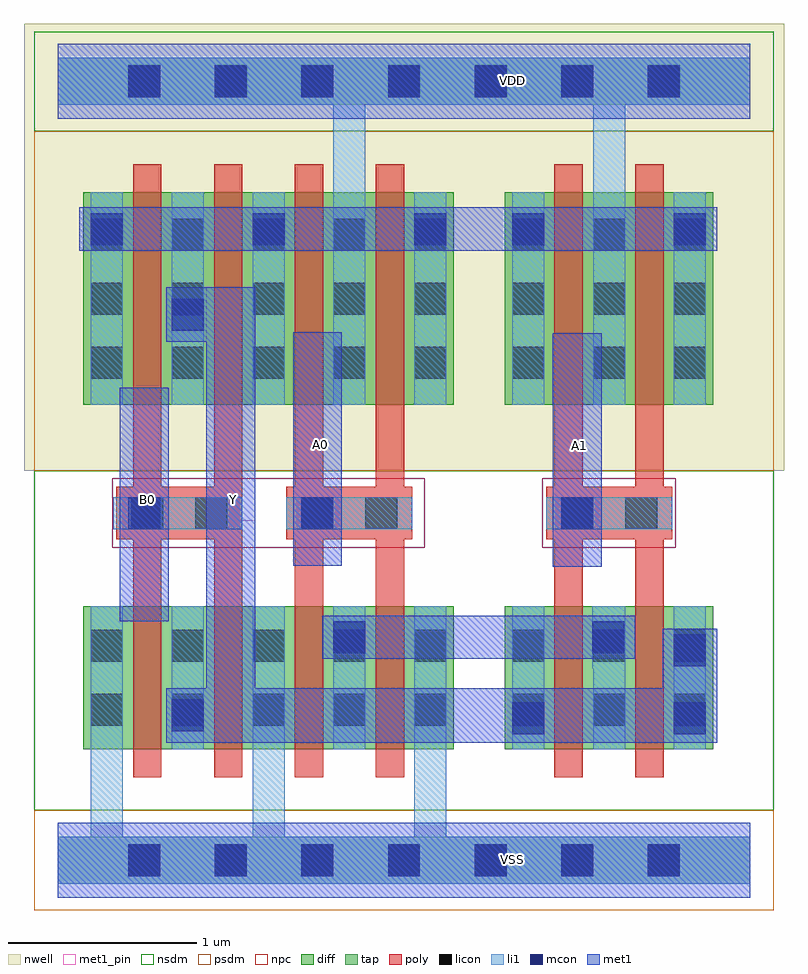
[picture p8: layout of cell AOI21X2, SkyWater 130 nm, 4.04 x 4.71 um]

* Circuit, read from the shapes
.subckt AOI21X2 A0 A1 B0 VDD VSS Y
XM1 Y B0 VSS VSS sky130_fd_pr__nfet_01v8 w=0.76 l=0.15 m=2
XM2 n1 A0 VSS VSS sky130_fd_pr__nfet_01v8 w=0.76 l=0.15 m=2
XM3 n1 A1 Y VSS sky130_fd_pr__nfet_01v8 w=0.76 l=0.15 m=2
XM4 Y B0 n2 VDD sky130_fd_pr__pfet_01v8 w=1.13 l=0.15 m=2
XM5 VDD A0 n2 VDD sky130_fd_pr__pfet_01v8 w=1.13 l=0.15 m=2
XM6 VDD A1 n2 VDD sky130_fd_pr__pfet_01v8 w=1.13 l=0.15 m=2
.ends

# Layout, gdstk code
from math import pi, radians
import gdstk
lib = gdstk.Library(unit=1e-6, precision=1e-09)
def R(c, l, rs):  # rectangles x0, y0, x1, y1
    for r in rs: c.add(gdstk.rectangle(r[:2], r[2:], *l))
def A(c, l, x, y, w, h, nx, ny, dx, dy):  # array of equal rectangles
    R(c, l, [(x+i*dx, y+j*dy, x+i*dx+w, y+j*dy+h) for i in range(nx) for j in range(ny)])
nwell = (64, 20)
diff = (65, 20)
tap = (65, 44)
poly = (66, 20)
licon = (66, 44)
li1 = (67, 20)
mcon = (67, 44)
met1_pin = (68, 16)
met1 = (68, 20)
nsdm = (93, 44)
psdm = (94, 20)
npc = (95, 20)

pfet_01v8_cdns_716492285 = lib.new_cell('pfet_01v8_CDNS_71649228522225')
R(pfet_01v8_cdns_716492285, nwell, [(-0.445,-0.18,0.985,1.31)])
R(pfet_01v8_cdns_716492285, diff, [(-0.265,0,0,1.13), (0,0,0.15,1.13), (0.15,0,0.43,1.13), (0.43,0,0.58,1.13), (0.58,0,0.805,1.13)])
R(pfet_01v8_cdns_716492285, poly, [(0,-0.15,0.15,-0.095), (0.43,-0.15,0.58,-0.095), (0,-0.095,0.15,0), (0.43,-0.095,0.58,0), (0,0,0.15,1.13), (0.43,0,0.58,1.13), (0,1.13,0.15,1.225), (0.43,1.13,0.58,1.225), (0,1.225,0.15,1.28), (0.43,1.225,0.58,1.28)])
A(pfet_01v8_cdns_716492285, licon, -0.225, 0.14, 0.17, 0.17, 3, 3, 0.43, 0.34)
A(pfet_01v8_cdns_716492285, li1, -0.225, 0, 0.17, 1.13, 3, 1, 0.43, 0)
R(pfet_01v8_cdns_716492285, psdm, [(-0.405,-0.13,0.815,1.26)])

nfet_01v8_cdns_716492285 = lib.new_cell('nfet_01v8_CDNS_71649228522139')
R(nfet_01v8_cdns_716492285, diff, [(-0.265,0,0,0.76), (0,0,0.15,0.76), (0.15,0,0.43,0.76), (0.43,0,0.58,0.76), (0.58,0,0.845,0.76)])
R(nfet_01v8_cdns_716492285, poly, [(0,-0.15,0.15,-0.095), (0.43,-0.15,0.58,-0.095), (0,-0.095,0.15,0), (0.43,-0.095,0.58,0), (0,0,0.15,0.76), (0.43,0,0.58,0.76), (0,0.76,0.15,0.855), (0.43,0.76,0.58,0.855), (0,0.855,0.15,0.91), (0.43,0.855,0.58,0.91)])
A(nfet_01v8_cdns_716492285, licon, -0.225, 0.125, 0.17, 0.17, 3, 2, 0.43, 0.34)
A(nfet_01v8_cdns_716492285, li1, -0.225, 0, 0.17, 0.76, 3, 1, 0.43, 0)
R(nfet_01v8_cdns_716492285, nsdm, [(-0.405,-0.13,0.985,0.89)])

c_pfet_01v8_cdns_716492285 = lib.new_cell('pfet_01v8_CDNS_71649228522226')
R(c_pfet_01v8_cdns_716492285, nwell, [(-0.235,-0.18,1.025,1.31)])
R(c_pfet_01v8_cdns_716492285, diff, [(-0.055,0,0,1.13), (0,0,0.15,1.13), (0.15,0,0.43,1.13), (0.43,0,0.58,1.13), (0.58,0,0.845,1.13)])
R(c_pfet_01v8_cdns_716492285, poly, [(0,-0.15,0.15,-0.095), (0.43,-0.15,0.58,-0.095), (0,-0.095,0.15,0), (0.43,-0.095,0.58,0), (0,0,0.15,1.13), (0.43,0,0.58,1.13), (0,1.13,0.15,1.225), (0.43,1.13,0.58,1.225), (0,1.225,0.15,1.28), (0.43,1.225,0.58,1.28)])
A(c_pfet_01v8_cdns_716492285, licon, 0.205, 0.14, 0.17, 0.17, 1, 3, 0, 0.34)
A(c_pfet_01v8_cdns_716492285, licon, 0.635, 0.14, 0.17, 0.17, 1, 3, 0, 0.34)
R(c_pfet_01v8_cdns_716492285, li1, [(0.205,0,0.375,1.13), (0.635,0,0.805,1.13)])
R(c_pfet_01v8_cdns_716492285, psdm, [(-0.065,-0.13,0.985,1.26)])

c_pfet_01v8_cdns_716492285_ = lib.new_cell('pfet_01v8_CDNS_71649228522167')
R(c_pfet_01v8_cdns_716492285_, nwell, [(-0.445,-0.18,1.025,1.31)])
R(c_pfet_01v8_cdns_716492285_, diff, [(-0.265,0,0,1.13), (0,0,0.15,1.13), (0.15,0,0.43,1.13), (0.43,0,0.58,1.13), (0.58,0,0.845,1.13)])
R(c_pfet_01v8_cdns_716492285_, poly, [(0,-0.15,0.15,-0.095), (0.43,-0.15,0.58,-0.095), (0,-0.095,0.15,0), (0.43,-0.095,0.58,0), (0,0,0.15,1.13), (0.43,0,0.58,1.13), (0,1.13,0.15,1.225), (0.43,1.13,0.58,1.225), (0,1.225,0.15,1.28), (0.43,1.225,0.58,1.28)])
A(c_pfet_01v8_cdns_716492285_, licon, -0.225, 0.14, 0.17, 0.17, 3, 3, 0.43, 0.34)
A(c_pfet_01v8_cdns_716492285_, li1, -0.225, 0, 0.17, 1.13, 3, 1, 0.43, 0)
R(c_pfet_01v8_cdns_716492285_, psdm, [(-0.405,-0.13,0.985,1.26)])

c_nfet_01v8_cdns_716492285 = lib.new_cell('nfet_01v8_CDNS_71649228522124')
R(c_nfet_01v8_cdns_716492285, diff, [(-0.265,0,0,0.76), (0,0,0.15,0.76), (0.15,0,0.43,0.76), (0.43,0,0.58,0.76), (0.58,0,0.805,0.76)])
R(c_nfet_01v8_cdns_716492285, poly, [(0,-0.15,0.15,-0.095), (0.43,-0.15,0.58,-0.095), (0,-0.095,0.15,0), (0.43,-0.095,0.58,0), (0,0,0.15,0.76), (0.43,0,0.58,0.76), (0,0.76,0.15,0.855), (0.43,0.76,0.58,0.855), (0,0.855,0.15,0.91), (0.43,0.855,0.58,0.91)])
A(c_nfet_01v8_cdns_716492285, licon, -0.225, 0.125, 0.17, 0.17, 3, 2, 0.43, 0.34)
A(c_nfet_01v8_cdns_716492285, li1, -0.225, 0, 0.17, 0.76, 3, 1, 0.43, 0)
R(c_nfet_01v8_cdns_716492285, nsdm, [(-0.405,-0.13,0.815,0.89)])

c_nfet_01v8_cdns_716492285_ = lib.new_cell('nfet_01v8_CDNS_71649228522125')
R(c_nfet_01v8_cdns_716492285_, diff, [(-0.055,0,0,0.76), (0,0,0.15,0.76), (0.15,0,0.43,0.76), (0.43,0,0.58,0.76), (0.58,0,0.845,0.76)])
R(c_nfet_01v8_cdns_716492285_, poly, [(0,-0.15,0.15,-0.095), (0.43,-0.15,0.58,-0.095), (0,-0.095,0.15,0), (0.43,-0.095,0.58,0), (0,0,0.15,0.76), (0.43,0,0.58,0.76), (0,0.76,0.15,0.855), (0.43,0.76,0.58,0.855), (0,0.855,0.15,0.91), (0.43,0.855,0.58,0.91)])
R(c_nfet_01v8_cdns_716492285_, licon, [(0.205,0.125,0.375,0.295), (0.635,0.125,0.805,0.295), (0.205,0.465,0.375,0.635), (0.635,0.465,0.805,0.635)])
R(c_nfet_01v8_cdns_716492285_, li1, [(0.205,0,0.375,0.76), (0.635,0,0.805,0.76)])
R(c_nfet_01v8_cdns_716492285_, nsdm, [(-0.065,-0.13,0.985,0.89)])

l1m1_c_cdns_716492285224 = lib.new_cell('L1M1_C_CDNS_7164922852241')
R(l1m1_c_cdns_716492285224, li1, [(-0.345,-0.085,0.345,0.085)])
R(l1m1_c_cdns_716492285224, mcon, [(-0.265,-0.085,-0.095,0.085), (0.095,-0.085,0.265,0.085)])
R(l1m1_c_cdns_716492285224, met1, [(-0.295,-0.145,0.295,0.145)])

l1m1_c_cdns_716492285227 = lib.new_cell('L1M1_C_CDNS_716492285227')
R(l1m1_c_cdns_716492285227, li1, [(-0.165,-0.085,0.165,0.085)])
R(l1m1_c_cdns_716492285227, mcon, [(-0.085,-0.085,0.085,0.085)])
R(l1m1_c_cdns_716492285227, met1, [(-0.145,-0.115,0.145,0.115)])

l1m1_c_cdns_716492285223 = lib.new_cell('L1M1_C_CDNS_716492285223')
R(l1m1_c_cdns_716492285223, li1, [(-0.165,-0.085,0.165,0.085)])
R(l1m1_c_cdns_716492285223, mcon, [(-0.085,-0.085,0.085,0.085)])
R(l1m1_c_cdns_716492285223, met1, [(-0.115,-0.145,0.115,0.145)])

pyl1con_c_cdns_716492285 = lib.new_cell('PYL1CON_C_CDNS_716492285220')
R(pyl1con_c_cdns_716492285, poly, [(-0.135,-0.165,0.135,0.165)])
R(pyl1con_c_cdns_716492285, licon, [(-0.085,-0.085,0.085,0.085)])
R(pyl1con_c_cdns_716492285, npc, [(-0.185,-0.185,0.185,0.185)])

aoi21x2 = lib.new_cell('AOI21X2')
R(aoi21x2, nwell, [(-0.18,2.07,3.86,4.305), (-0.18,3.875,3.86,4.445)])
R(aoi21x2, poly, [(0.31,1.705,0.83,1.985), (0.83,1.705,0.98,1.985), (1.215,1.705,1.365,1.985), (1.365,1.705,1.885,1.985), (2.595,1.705,2.745,1.985), (2.745,1.705,3.265,1.985), (0.31,1.71,0.98,1.98), (1.215,1.71,1.885,1.98), (2.595,1.71,3.265,1.98)])
A(aoi21x2, licon, 0.375, -0.085, 0.17, 0.17, 7, 2, 0.46, 4.14)
A(aoi21x2, mcon, 0.375, -0.085, 0.17, 0.17, 7, 2, 0.46, 4.14)
R(aoi21x2, met1_pin, [(0.33,1.27,0.59,2.51), (2.63,1.56,2.89,2.8), (1.25,1.565,1.51,2.805), (0.79,1.805,1.05,3.045)])
R(aoi21x2, nsdm, [(-0.125,0.265,3.805,2.07), (-0.125,3.875,3.805,4.405), (-0.125,3.93,3.805,4.35)])
R(aoi21x2, psdm, [(-0.125,-0.265,3.805,0.265), (-0.125,-0.21,3.805,0.21), (-0.125,2.07,3.805,3.875)])
R(aoi21x2, npc, [(0.29,1.66,1.95,2.03)])
aoi21x2.add(gdstk.FlexPath([(1.335,2.27),(1.335,1.5)], 0.15, ends="flush", simple_path=True, layer=66, datatype=20))  # poly
aoi21x2.add(gdstk.FlexPath([(0.31,1.845),(0.905,1.845)], 0.15, ends=(0, 0.075), simple_path=True, layer=66, datatype=20))  # poly
aoi21x2.add(gdstk.FlexPath([(0.475,1.845),(0.475,1.5)], 0.15, ends=(0.075, 0), simple_path=True, layer=66, datatype=20))  # poly
aoi21x2.add(gdstk.FlexPath([(0.475,2.27),(0.475,1.845)], 0.15, ends=(0, 0.075), simple_path=True, layer=66, datatype=20))  # poly
aoi21x2.add(gdstk.FlexPath([(3.145,1.845),(3.145,1.5)], 0.15, ends=(0.075, 0), simple_path=True, layer=66, datatype=20))  # poly
aoi21x2.add(gdstk.FlexPath([(3.145,2.27),(3.145,1.845)], 0.15, ends=(0, 0.075), simple_path=True, layer=66, datatype=20))  # poly
aoi21x2.add(gdstk.FlexPath([(1.885,1.845),(1.29,1.845)], 0.15, ends=(0, 0.075), simple_path=True, layer=66, datatype=20))  # poly
aoi21x2.add(gdstk.FlexPath([(0.4,1.845),(0.475,1.845)], 0.15, ends=(0, 0.075), simple_path=True, layer=66, datatype=20))  # poly
aoi21x2.add(gdstk.FlexPath([(0.905,1.845),(0.475,1.845)], 0.15, ends="extended", simple_path=True, layer=66, datatype=20))  # poly
aoi21x2.add(gdstk.FlexPath([(3.1,1.845),(3.01,1.845)], 0.15, ends="extended", simple_path=True, layer=66, datatype=20))  # poly
aoi21x2.add(gdstk.FlexPath([(3.01,1.845),(2.67,1.845)], 0.15, ends="extended", simple_path=True, layer=66, datatype=20))  # poly
aoi21x2.add(gdstk.FlexPath([(3.22,1.845),(3.1,1.845)], 0.15, ends=(0, 0.075), simple_path=True, layer=66, datatype=20))  # poly
aoi21x2.add(gdstk.FlexPath([(1.765,1.5),(1.765,2.27)], 0.15, ends="flush", simple_path=True, layer=66, datatype=20))  # poly
aoi21x2.add(gdstk.FlexPath([(0.905,1.845),(0.905,1.5)], 0.15, ends=(0.075, 0), simple_path=True, layer=66, datatype=20))  # poly
aoi21x2.add(gdstk.FlexPath([(0.905,2.27),(0.905,1.845)], 0.15, ends=(0, 0.075), simple_path=True, layer=66, datatype=20))  # poly
aoi21x2.add(gdstk.FlexPath([(2.715,1.845),(2.715,1.5)], 0.15, ends=(0.075, 0), simple_path=True, layer=66, datatype=20))  # poly
aoi21x2.add(gdstk.FlexPath([(2.715,2.27),(2.715,1.845)], 0.15, ends=(0, 0.075), simple_path=True, layer=66, datatype=20))  # poly
aoi21x2.add(gdstk.FlexPath([(1.12,0.59),(1.12,0)], 0.17, ends=(0, 0.125), simple_path=True, layer=67, datatype=20))  # li1
aoi21x2.add(gdstk.FlexPath([(1.98,0.695),(1.98,0)], 0.17, ends=(0, 0.125), simple_path=True, layer=67, datatype=20))  # li1
aoi21x2.add(gdstk.FlexPath([(0.26,0.595),(0.26,0.005)], 0.17, ends=(0, 0.125), simple_path=True, layer=67, datatype=20))  # li1
aoi21x2.add(gdstk.FlexPath([(1.55,3.55),(1.55,4.14)], 0.17, ends=(0, 0.125), simple_path=True, layer=67, datatype=20))  # li1
aoi21x2.add(gdstk.FlexPath([(0,4.14),(3.68,4.14)], 0.25, ends="flush", simple_path=True, layer=67, datatype=20))  # li1
aoi21x2.add(gdstk.FlexPath([(0.98,1.845),(0.31,1.845)], 0.17, ends="flush", simple_path=True, layer=67, datatype=20))  # li1
aoi21x2.add(gdstk.FlexPath([(1.215,1.845),(1.885,1.845)], 0.17, ends="flush", simple_path=True, layer=67, datatype=20))  # li1
aoi21x2.add(gdstk.FlexPath([(2.595,1.845),(3.265,1.845)], 0.17, ends="flush", simple_path=True, layer=67, datatype=20))  # li1
aoi21x2.add(gdstk.FlexPath([(2.93,3.55),(2.93,4.14)], 0.17, ends=(0, 0.125), simple_path=True, layer=67, datatype=20))  # li1
aoi21x2.add(gdstk.FlexPath([(0,0),(3.68,0)], 0.25, ends="flush", simple_path=True, layer=67, datatype=20))  # li1
aoi21x2.add(gdstk.FlexPath([(0,0),(3.68,0)], 0.25, ends="flush", simple_path=True, layer=65, datatype=44))  # tap
aoi21x2.add(gdstk.FlexPath([(0,4.14),(3.68,4.14)], 0.25, ends="flush", simple_path=True, layer=65, datatype=44))  # tap
aoi21x2.add(gdstk.FlexPath([(0,0),(3.68,0)], 0.4, ends="flush", simple_path=True, layer=68, datatype=20))  # met1
aoi21x2.add(gdstk.FlexPath([(0,4.14),(3.68,4.14)], 0.4, ends="flush", simple_path=True, layer=68, datatype=20))  # met1
aoi21x2.add(gdstk.FlexPath([(0.92,0.77),(0.92,0.625)], 0.26, ends=(0.145, 0), simple_path=True, layer=68, datatype=20))  # met1
aoi21x2.add(gdstk.FlexPath([(1.38,2.805),(1.38,1.565)], 0.26, ends="flush", simple_path=True, layer=68, datatype=20))  # met1
aoi21x2.add(gdstk.FlexPath([(0.46,2.51),(0.46,1.27)], 0.26, ends="flush", simple_path=True, layer=68, datatype=20))  # met1
aoi21x2.add(gdstk.FlexPath([(2.76,2.8),(2.76,1.56)], 0.26, ends="flush", simple_path=True, layer=68, datatype=20))  # met1
aoi21x2.add(gdstk.FlexPath([(0.92,3.045),(0.92,0.77)], 0.26, ends=(0, 0.145), simple_path=True, layer=68, datatype=20))  # met1
aoi21x2.add(gdstk.FlexPath([(3.36,0.77),(3.36,0.755)], 0.29, ends=(0.145, 0.115), simple_path=True, layer=68, datatype=20))  # met1
aoi21x2.add(gdstk.FlexPath([(0.26,3.355),(3.36,3.355)], 0.23, ends="flush", simple_path=True, layer=68, datatype=20))  # met1
aoi21x2.add(gdstk.FlexPath([(3.36,0.755),(2.5,0.755)], 0.23, ends=(0.145, 0), simple_path=True, layer=68, datatype=20))  # met1
aoi21x2.add(gdstk.FlexPath([(0.69,0.77),(3.36,0.77)], 0.29, ends=(0, 0.145), simple_path=True, layer=68, datatype=20))  # met1
aoi21x2.add(gdstk.FlexPath([(2.955,1.185),(1.55,1.185)], 0.23, ends=(0.115, 0), simple_path=True, layer=68, datatype=20))  # met1
aoi21x2.add(gdstk.FlexPath([(0,4.14),(3.68,4.14)], 0.4, ends="flush", simple_path=True, layer=68, datatype=16))  # met1_pin
aoi21x2.add(gdstk.FlexPath([(0,0),(3.68,0)], 0.4, ends="flush", simple_path=True, layer=68, datatype=16))  # met1_pin
aoi21x2.add(gdstk.Reference(pfet_01v8_cdns_716492285, (0.4,2.42)))
aoi21x2.add(gdstk.Reference(nfet_01v8_cdns_716492285, (2.64,0.59)))
aoi21x2.add(gdstk.Reference(c_pfet_01v8_cdns_716492285, (1.26,2.42)))
aoi21x2.add(gdstk.Reference(c_pfet_01v8_cdns_716492285_, (2.64,2.42)))
aoi21x2.add(gdstk.Reference(c_nfet_01v8_cdns_716492285, (0.4,0.59)))
aoi21x2.add(gdstk.Reference(c_nfet_01v8_cdns_716492285_, (1.26,0.59)))
aoi21x2.add(gdstk.Reference(l1m1_c_cdns_716492285224, (3.36,0.935), rotation=pi/2))
aoi21x2.add(gdstk.Reference(l1m1_c_cdns_716492285227, (0.69,2.9), rotation=pi/2))
aoi21x2.add(gdstk.Reference(l1m1_c_cdns_716492285227, (0.69,0.77), rotation=pi/2))
aoi21x2.add(gdstk.Reference(l1m1_c_cdns_716492285223, (2.76,1.845)))
aoi21x2.add(gdstk.Reference(l1m1_c_cdns_716492285223, (1.55,1.185), rotation=pi/2))
aoi21x2.add(gdstk.Reference(l1m1_c_cdns_716492285223, (3.36,3.355), rotation=pi/2))
aoi21x2.add(gdstk.Reference(l1m1_c_cdns_716492285223, (2.5,3.355), rotation=pi/2))
aoi21x2.add(gdstk.Reference(l1m1_c_cdns_716492285223, (1.98,3.355), rotation=pi/2))
aoi21x2.add(gdstk.Reference(l1m1_c_cdns_716492285223, (1.12,3.355), rotation=pi/2))
aoi21x2.add(gdstk.Reference(l1m1_c_cdns_716492285223, (0.26,3.355), rotation=pi/2))
aoi21x2.add(gdstk.Reference(l1m1_c_cdns_716492285223, (1.38,1.845)))
aoi21x2.add(gdstk.Reference(l1m1_c_cdns_716492285223, (2.925,1.185), rotation=pi/2))
aoi21x2.add(gdstk.Reference(l1m1_c_cdns_716492285223, (2.5,0.755), rotation=pi/2))
aoi21x2.add(gdstk.Reference(l1m1_c_cdns_716492285223, (0.46,1.845)))
aoi21x2.add(gdstk.Reference(pyl1con_c_cdns_716492285, (1.38,1.845), rotation=3*pi/2, x_reflection=True))
aoi21x2.add(gdstk.Reference(pyl1con_c_cdns_716492285, (1.72,1.845), rotation=3*pi/2, x_reflection=True))
aoi21x2.add(gdstk.Reference(pyl1con_c_cdns_716492285, (0.815,1.845), rotation=3*pi/2))
aoi21x2.add(gdstk.Reference(pyl1con_c_cdns_716492285, (2.76,1.845), rotation=3*pi/2, x_reflection=True))
aoi21x2.add(gdstk.Reference(pyl1con_c_cdns_716492285, (3.1,1.845), rotation=3*pi/2, x_reflection=True))
aoi21x2.add(gdstk.Reference(pyl1con_c_cdns_716492285, (0.475,1.845), rotation=3*pi/2))
aoi21x2.add(gdstk.Label('VDD', (2.415,4.145), layer=68, texttype=5))
aoi21x2.add(gdstk.Label('Y', (0.935,1.915), layer=68, texttype=5))
aoi21x2.add(gdstk.Label('B0', (0.475,1.915), layer=68, texttype=5))
aoi21x2.add(gdstk.Label('A1', (2.775,2.205), layer=68, texttype=5))
aoi21x2.add(gdstk.Label('VSS', (2.415,0.005), layer=68, texttype=5))
aoi21x2.add(gdstk.Label('A0', (1.395,2.21), layer=68, texttype=5))

lib.write_gds('AOI21X2.gds')
